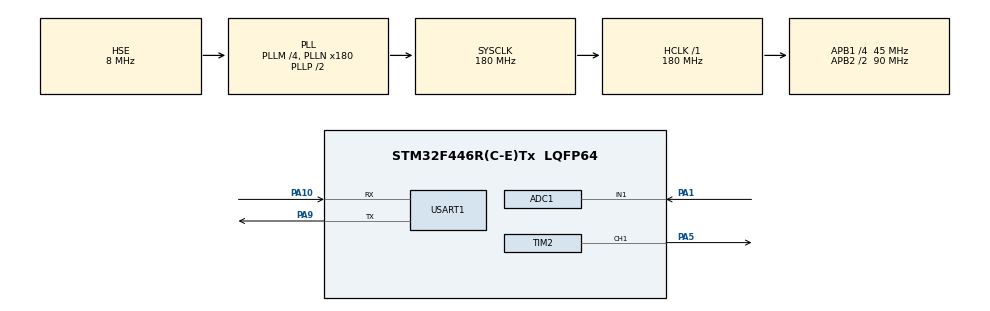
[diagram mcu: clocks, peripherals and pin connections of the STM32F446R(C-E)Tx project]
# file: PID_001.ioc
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ADC1.Channel-0\#ChannelRegularConversion=ADC_CHANNEL_1
ADC1.ContinuousConvMode=ENABLE
ADC1.NbrOfConversionFlag=1
ADC1.Rank-0\#ChannelRegularConversion=1
ADC1.SamplingTime-0\#ChannelRegularConversion=ADC_SAMPLETIME_3CYCLES
ADC1.ScanConvMode=ENABLE
ADC1.master=1
Mcu.Family=STM32F4
Mcu.Name=STM32F446R(C-E)Tx
Mcu.Package=LQFP64
NVIC.ADC_IRQn=true\:0\:0\:false\:false\:true\:true\:true\:true
NVIC.PriorityGroup=NVIC_PRIORITYGROUP_4
NVIC.USART1_IRQn=true\:0\:0\:false\:false\:true\:true\:true\:true
PA1.Signal=ADCx_IN1
PA10.Mode=Asynchronous
PA10.Signal=USART1_RX
PA13.Mode=Serial_Wire
PA13.Signal=SYS_JTMS-SWDIO
PA14.Mode=Serial_Wire
PA14.Signal=SYS_JTCK-SWCLK
PA5.Signal=S_TIM2_CH1_ETR
PA9.Mode=Asynchronous
PA9.Signal=USART1_TX
PH0-OSC_IN.Mode=HSE-External-Oscillator
PH0-OSC_IN.Signal=RCC_OSC_IN
PH1-OSC_OUT.Mode=HSE-External-Oscillator
PH1-OSC_OUT.Signal=RCC_OSC_OUT
ProjectManager.HeapSize=0x200
ProjectManager.StackSize=0x400
ProjectManager.TargetToolchain=STM32CubeIDE
RCC.AHBFreq_Value=180000000
RCC.APB1CLKDivider=RCC_HCLK_DIV4
RCC.APB1Freq_Value=45000000
RCC.APB1TimFreq_Value=90000000
RCC.APB2CLKDivider=RCC_HCLK_DIV2
RCC.APB2Freq_Value=90000000
RCC.APB2TimFreq_Value=180000000
RCC.CortexFreq_Value=180000000
RCC.HCLKFreq_Value=180000000
RCC.HSE_VALUE=8000000
RCC.PLLM=4
RCC.PLLN=180
RCC.PLLSourceVirtual=RCC_PLLSOURCE_HSE
RCC.SYSCLKFreq_VALUE=180000000
RCC.SYSCLKSource=RCC_SYSCLKSOURCE_PLLCLK
RCC.USBFreq_Value=180000000
RCC.VCOOutputFreq_Value=360000000
SH.ADCx_IN1.0=ADC1_IN1,IN1
SH.S_TIM2_CH1_ETR.0=TIM2_CH1,PWM Generation1 CH1
TIM2.Channel-PWM\ Generation1\ CH1=TIM_CHANNEL_1
TIM2.Period=100-1
TIM2.Prescaler=9000-1
USART1.VirtualMode=VM_ASYNC
VP_TIM2_VS_ClockSourceINT.Mode=Internal
board=custom

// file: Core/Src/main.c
/* USER CODE BEGIN Header */
/**
  ******************************************************************************
  * @file           : main.c
  * @brief          : Main program body
  ******************************************************************************
  * @attention
  *
  * Copyright (c) 2024 STMicroelectronics.
  * All rights reserved.
  *
  * This software is licensed under terms that can be found in the LICENSE file
  * in the root directory of this software component.
  * If no LICENSE file comes with this software, it is provided AS-IS.
  *
  ******************************************************************************
  */
/* USER CODE END Header */
#include "main.h"

/* USER CODE BEGIN Includes */
#include "PID.h"
/* USER CODE END Includes */

ADC_HandleTypeDef hadc1;

TIM_HandleTypeDef htim2;

UART_HandleTypeDef huart1;

void SystemClock_Config(void);
static void MX_GPIO_Init(void);
static void MX_USART1_UART_Init(void);
static void MX_TIM2_Init(void);
static void MX_ADC1_Init(void);

/* USER CODE BEGIN 0 */
uint16_t cnt = 0;
PID_Typedef_t PID;
float kp = 10;  // daha hızlı yanıt icin arttırılabilir
float ki = 1;	// daha kararlı sistem için arttırılabilir
float kd = 0.1; // oturma zamanı icin degisiklik yapılkabilir
float ts = 0.001;

uint32_t adcValue = 0;

long map(long x, long in_min, long in_max, long out_min, long out_max) {
      return (x - in_min) * (out_max - out_min) / (in_max - in_min) + out_min;
}

uint8_t pwmValue = 0;
uint32_t pidOut = 0;
void HAL_ADC_ConvCpltCallback(ADC_HandleTypeDef *hadc)
{
  if(hadc->Instance == ADC1) {
	  adcValue = HAL_ADC_GetValue(&hadc1);
	  pwmValue = map(adcValue, 0, 4095, 0, 100);
	  PID_Control(&PID, 80, pwmValue);
	  pidOut = PID_Output(&PID);
	  TIM2->CCR1 = pidOut;
	  HAL_ADC_Start_IT(&hadc1);
  }
}

/* USER CODE END 0 */

int main(void)
{

  /* MCU Configuration--------------------------------------------------------*/

  /* Reset of all peripherals, Initializes the Flash interface and the Systick. */
  HAL_Init();

  /* Configure the system clock */
  SystemClock_Config();

  /* Initialize all configured peripherals */
  MX_GPIO_Init();
  MX_USART1_UART_Init();
  MX_TIM2_Init();
  MX_ADC1_Init();
  /* USER CODE BEGIN 2 */

  PID_Init(&PID, kp, ki, kd, ts, 70, 50);
  HAL_TIM_PWM_Start(&htim2, TIM_CHANNEL_1);
  HAL_ADC_Start_IT(&hadc1);
  /* USER CODE END 2 */

  /* Infinite loop */
  while (1)
  {

  }
}

void SystemClock_Config(void)
{
  RCC_OscInitTypeDef RCC_OscInitStruct = {0};
  RCC_ClkInitTypeDef RCC_ClkInitStruct = {0};

  /** Configure the main internal regulator output voltage
  */
  __HAL_RCC_PWR_CLK_ENABLE();
  __HAL_PWR_VOLTAGESCALING_CONFIG(PWR_REGULATOR_VOLTAGE_SCALE1);

  /** Initializes the RCC Oscillators according to the specified parameters
  * in the RCC_OscInitTypeDef structure.
  */
  RCC_OscInitStruct.OscillatorType = RCC_OSCILLATORTYPE_HSE;
  RCC_OscInitStruct.HSEState = RCC_HSE_ON;
  RCC_OscInitStruct.PLL.PLLState = RCC_PLL_ON;
  RCC_OscInitStruct.PLL.PLLSource = RCC_PLLSOURCE_HSE;
  RCC_OscInitStruct.PLL.PLLM = 4;
  RCC_OscInitStruct.PLL.PLLN = 180;
  RCC_OscInitStruct.PLL.PLLP = RCC_PLLP_DIV2;
  RCC_OscInitStruct.PLL.PLLQ = 2;
  RCC_OscInitStruct.PLL.PLLR = 2;
  if (HAL_RCC_OscConfig(&RCC_OscInitStruct) != HAL_OK)
  {
    Error_Handler();
  }

  /** Activate the Over-Drive mode
  */
  if (HAL_PWREx_EnableOverDrive() != HAL_OK)
  {
    Error_Handler();
  }

  /** Initializes the CPU, AHB and APB buses clocks
  */
  RCC_ClkInitStruct.ClockType = RCC_CLOCKTYPE_HCLK|RCC_CLOCKTYPE_SYSCLK
                              |RCC_CLOCKTYPE_PCLK1|RCC_CLOCKTYPE_PCLK2;
  RCC_ClkInitStruct.SYSCLKSource = RCC_SYSCLKSOURCE_PLLCLK;
  RCC_ClkInitStruct.AHBCLKDivider = RCC_SYSCLK_DIV1;
  RCC_ClkInitStruct.APB1CLKDivider = RCC_HCLK_DIV4;
  RCC_ClkInitStruct.APB2CLKDivider = RCC_HCLK_DIV2;

  if (HAL_RCC_ClockConfig(&RCC_ClkInitStruct, FLASH_LATENCY_5) != HAL_OK)
  {
    Error_Handler();
  }
}

static void MX_ADC1_Init(void)
{

  ADC_ChannelConfTypeDef sConfig = {0};

  /** Configure the global features of the ADC (Clock, Resolution, Data Alignment and number of conversion)
  */
  hadc1.Instance = ADC1;
  hadc1.Init.ClockPrescaler = ADC_CLOCK_SYNC_PCLK_DIV4;
  hadc1.Init.Resolution = ADC_RESOLUTION_12B;
  hadc1.Init.ScanConvMode = ENABLE;
  hadc1.Init.ContinuousConvMode = ENABLE;
  hadc1.Init.DiscontinuousConvMode = DISABLE;
  hadc1.Init.ExternalTrigConvEdge = ADC_EXTERNALTRIGCONVEDGE_NONE;
  hadc1.Init.ExternalTrigConv = ADC_SOFTWARE_START;
  hadc1.Init.DataAlign = ADC_DATAALIGN_RIGHT;
  hadc1.Init.NbrOfConversion = 1;
  hadc1.Init.DMAContinuousRequests = DISABLE;
  hadc1.Init.EOCSelection = ADC_EOC_SINGLE_CONV;
  if (HAL_ADC_Init(&hadc1) != HAL_OK)
  {
    Error_Handler();
  }

  /** Configure for the selected ADC regular channel its corresponding rank in the sequencer and its sample time.
  */
  sConfig.Channel = ADC_CHANNEL_1;
  sConfig.Rank = 1;
  sConfig.SamplingTime = ADC_SAMPLETIME_3CYCLES;
  if (HAL_ADC_ConfigChannel(&hadc1, &sConfig) != HAL_OK)
  {
    Error_Handler();
  }

}

static void MX_TIM2_Init(void)
{

  TIM_ClockConfigTypeDef sClockSourceConfig = {0};
  TIM_MasterConfigTypeDef sMasterConfig = {0};
  TIM_OC_InitTypeDef sConfigOC = {0};

  htim2.Instance = TIM2;
  htim2.Init.Prescaler = 9000-1;
  htim2.Init.CounterMode = TIM_COUNTERMODE_UP;
  htim2.Init.Period = 100-1;
  htim2.Init.ClockDivision = TIM_CLOCKDIVISION_DIV1;
  htim2.Init.AutoReloadPreload = TIM_AUTORELOAD_PRELOAD_DISABLE;
  if (HAL_TIM_Base_Init(&htim2) != HAL_OK)
  {
    Error_Handler();
  }
  sClockSourceConfig.ClockSource = TIM_CLOCKSOURCE_INTERNAL;
  if (HAL_TIM_ConfigClockSource(&htim2, &sClockSourceConfig) != HAL_OK)
  {
    Error_Handler();
  }
  if (HAL_TIM_PWM_Init(&htim2) != HAL_OK)
  {
    Error_Handler();
  }
  sMasterConfig.MasterOutputTrigger = TIM_TRGO_RESET;
  sMasterConfig.MasterSlaveMode = TIM_MASTERSLAVEMODE_DISABLE;
  if (HAL_TIMEx_MasterConfigSynchronization(&htim2, &sMasterConfig) != HAL_OK)
  {
    Error_Handler();
  }
  sConfigOC.OCMode = TIM_OCMODE_PWM1;
  sConfigOC.Pulse = 0;
  sConfigOC.OCPolarity = TIM_OCPOLARITY_HIGH;
  sConfigOC.OCFastMode = TIM_OCFAST_DISABLE;
  if (HAL_TIM_PWM_ConfigChannel(&htim2, &sConfigOC, TIM_CHANNEL_1) != HAL_OK)
  {
    Error_Handler();
  }
  HAL_TIM_MspPostInit(&htim2);

}

static void MX_USART1_UART_Init(void)
{

  huart1.Instance = USART1;
  huart1.Init.BaudRate = 115200;
  huart1.Init.WordLength = UART_WORDLENGTH_8B;
  huart1.Init.StopBits = UART_STOPBITS_1;
  huart1.Init.Parity = UART_PARITY_NONE;
  huart1.Init.Mode = UART_MODE_TX_RX;
  huart1.Init.HwFlowCtl = UART_HWCONTROL_NONE;
  huart1.Init.OverSampling = UART_OVERSAMPLING_16;
  if (HAL_UART_Init(&huart1) != HAL_OK)
  {
    Error_Handler();
  }

}

static void MX_GPIO_Init(void)
{

  /* GPIO Ports Clock Enable */
  __HAL_RCC_GPIOH_CLK_ENABLE();
  __HAL_RCC_GPIOA_CLK_ENABLE();

}

void Error_Handler(void)
{
  __disable_irq();
  while (1)
  {
  }
}
